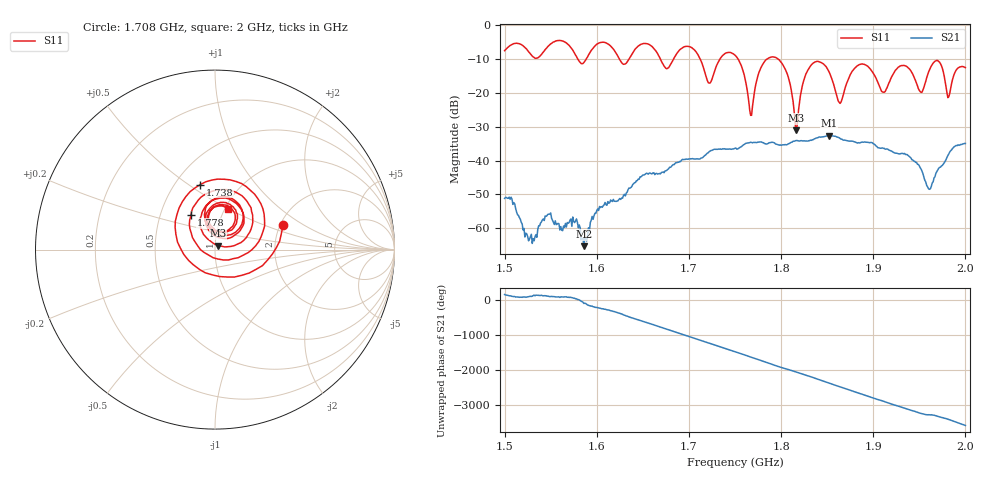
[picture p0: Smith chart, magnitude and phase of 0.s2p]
! NanoVNA-App by SYSJOINT et al v1.1.209 (+OD18)
! Date: 2026-01-21 14:28:18
! Start: 1,5GHz Stop: 2GHz Points: 501
! S-Parameter data: F S11 S21 S12 S22
# Hz S RI R 50
!  Frequency  S11_Real  S11_Imag  S21_Real  S21_Imag  S12_Real  S12_Imag  S22_Real  S22_Imag
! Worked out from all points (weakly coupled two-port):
!   501 points, 1.5 GHz to 2 GHz, reference 50 ohm
!   highest |S21| = -32.58 dB at 1.852 GHz (marker M1); lowest = -65.3 dB at 1.586 GHz (marker M2)
!   lowest |S11| = -31.0 dB at 1.816 GHz (marker M3), VSWR 1.06, Z = 51.7 + j2.32 ohm
!   |S11| at or under -10 dB: 1.712 GHz to 1.734 GHz (21.37 MHz wide, 1.24 % of centre); 1.753 GHz to 1.785 GHz (31.4 MHz wide, 1.77 % of centre); 1.797 GHz to end of sweep (the widest 3 of 6)
!   S12 and S22 are empty: the file has one direction only
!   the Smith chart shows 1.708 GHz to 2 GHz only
!   S11 on the Smith chart (normalised r, x): 1.708 GHz: 2.07, +0.67; 1.738 GHz: 0.66, +0.56; 1.778 GHz: 0.72, +0.29; 2 GHz: 1.03, +0.49
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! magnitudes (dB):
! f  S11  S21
! 1.5 GHz  -7.5  -51.2
! 1.528 GHz  -8.5  -62.5
! 1.548 GHz  -6.0  -55.8
! 1.584 GHz  -11.4  -63.1
! 1.586 GHz  -11.0  -65.3
! 1.667 GHz  -8.9  -43.9
! 1.708 GHz  -7.9  -39.5
! 1.722 GHz  -17.1  -37.3
! 1.738 GHz  -8.6  -36.6
! 1.75 GHz  -8.8  -36.3
! 1.767 GHz  -26.6  -34.6
! 1.778 GHz  -12.6  -34.5
! 1.801 GHz  -11.3  -35.4
! 1.816 GHz  -31.0  -34.1
! 1.834 GHz  -11.4  -33.8
! 1.852 GHz  -13.7  -32.6
! 1.864 GHz  -23.1  -33.4
! 1.885 GHz  -11.6  -34.8
! 1.917 GHz  -17.1  -36.9
! 1.961 GHz  -13.2  -48.5
! 1.982 GHz  -21.1  -38.0
! 2 GHz  -12.5  -34.9
